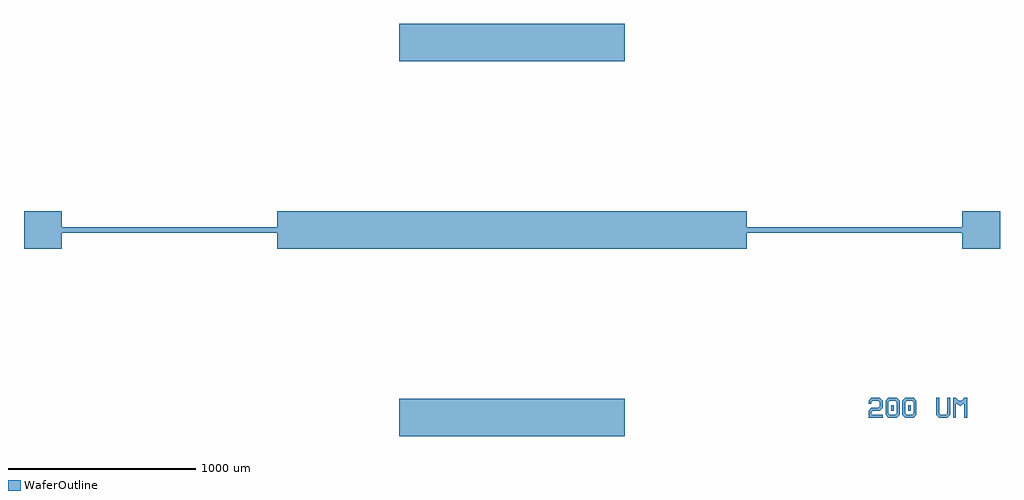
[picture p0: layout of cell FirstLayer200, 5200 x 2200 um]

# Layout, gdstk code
import gdstk
lib = gdstk.Library(unit=1e-6, precision=1e-09)
def R(c, l, rs):  # rectangles x0, y0, x1, y1
    for r in rs: c.add(gdstk.rectangle(r[:2], r[2:], *l))
def P(c, l, *ps):  # polygons
    for p in ps: c.add(gdstk.Polygon(p, *l))
WaferOutline = (1, 0)

c_200umsquare_3_1 = lib.new_cell('200umSquare$3$1')
R(c_200umsquare_3_1, WaferOutline, [(-100,-100,100,100)])

text_6 = lib.new_cell('TEXT$6')
R(text_6, WaferOutline, [(0.8,0.25,0.9,0.45), (1.4,0.25,1.5,0.45)])
P(text_6, WaferOutline, [(0,0),(0,0.25),(0.1,0.35),(0.35,0.35),(0.4,0.4),(0.4,0.55),(0.35,0.6),(0.15,0.6),(0.1,0.55),(0.1,0.5),(0,0.5),(0,0.6),(0.1,0.7),(0.4,0.7),(0.5,0.6),(0.5,0.35),(0.4,0.25),(0.15,0.25),(0.1,0.2),(0.1,0.1),(0.5,0.1),(0.5,0)],
  [(0.7,0),(0.6,0.1),(0.6,0.6),(0.7,0.7),(1,0.7),(1.1,0.6),(0.75,0.6),(0.7,0.55),(0.7,0.15),(0.75,0.1),(0.95,0.1),(1,0.15),(1,0.55),(0.95,0.6),(1.1,0.6),(1.1,0.1),(1,0)],
  [(1.3,0),(1.2,0.1),(1.2,0.6),(1.3,0.7),(1.6,0.7),(1.7,0.6),(1.35,0.6),(1.3,0.55),(1.3,0.15),(1.35,0.1),(1.55,0.1),(1.6,0.15),(1.6,0.55),(1.55,0.6),(1.7,0.6),(1.7,0.1),(1.6,0)],
  [(2.5,0),(2.4,0.1),(2.4,0.7),(2.5,0.7),(2.5,0.15),(2.55,0.1),(2.75,0.1),(2.8,0.15),(2.8,0.7),(2.9,0.7),(2.9,0.1),(2.8,0)],
  [(3,0),(3,0.7),(3.1,0.7),(3.2,0.6),(3.3,0.6),(3.4,0.7),(3.5,0.7),(3.5,0),(3.4,0),(3.4,0.5),(3.35,0.5),(3.25,0.4),(3.15,0.5),(3.1,0.5),(3.1,0)])

firstlayer200 = lib.new_cell('FirstLayer200')
R(firstlayer200, WaferOutline, [(-1250,-100,1250,100)])
firstlayer200.add(gdstk.FlexPath([(-2500,0),(2500,0)], 30, ends="flush", simple_path=True, layer=1, datatype=0))  # WaferOutline
r = gdstk.Reference(c_200umsquare_3_1, (-2500,0)); r.repetition = gdstk.Repetition(2, 1, v1=(5000,0), v2=(0,0)); firstlayer200.add(r)
r = gdstk.Reference(c_200umsquare_3_1, (-500,-1000)); r.repetition = gdstk.Repetition(6, 2, v1=(200,0), v2=(0,2000)); firstlayer200.add(r)
firstlayer200.add(gdstk.Reference(text_6, (1900,-1000), magnification=150))

lib.write_gds('FirstLayer200.gds')
